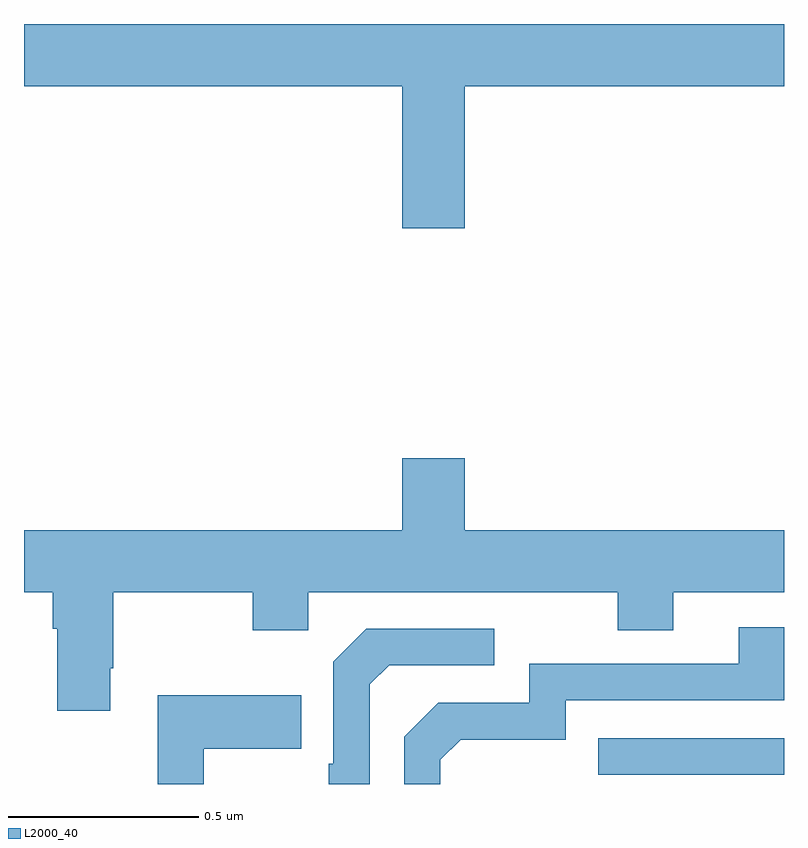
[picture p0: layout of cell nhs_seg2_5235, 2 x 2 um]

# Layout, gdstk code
import gdstk
lib = gdstk.Library(unit=1e-6, precision=1e-09)
def R(c, l, rs):  # rectangles x0, y0, x1, y1
    for r in rs: c.add(gdstk.rectangle(r[:2], r[2:], *l))
def P(c, l, *ps):  # polygons
    for p in ps: c.add(gdstk.Polygon(p, *l))
L2000_40 = (2000, 40)

nhs_seg2_5235 = lib.new_cell('nhs_seg2_5235')
R(nhs_seg2_5235, L2000_40, [(177.511,645.825,178,645.921)])
P(nhs_seg2_5235, L2000_40, [(177.16,647.636),(178,647.636),(178,647.8),(176,647.8),(176,647.636),(176.996,647.636),(176.996,647.262),(177.16,647.262)],
  [(176.227,646.105),(176.235,646.105),(176.235,646.304),(176.602,646.304),(176.602,646.205),(176.748,646.205),(176.748,646.304),(177.562,646.304),(177.562,646.205),(177.709,646.205),(177.709,646.304),(178,646.304),(178,646.468),(177.16,646.468),(177.16,646.657),(176.996,646.657),(176.996,646.468),(176,646.468),(176,646.304),(176.075,646.304),(176.075,646.208),(176.087,646.208),(176.087,645.993),(176.227,645.993)],
  [(177.096,645.864),(177.149,645.917),(177.426,645.917),(177.426,646.02),(178,646.02),(178,646.212),(177.881,646.212),(177.881,646.116),(177.33,646.116),(177.33,646.014),(177.09,646.014),(177,645.924),(177,645.8),(177.096,645.8)],
  [(176.91,646.062),(176.961,646.113),(177.238,646.113),(177.238,646.209),(176.901,646.209),(176.814,646.122),(176.814,645.853),(176.802,645.853),(176.802,645.8),(176.91,645.8)],
  [(176.473,645.893),(176.729,645.893),(176.729,646.033),(176.352,646.033),(176.352,645.8),(176.473,645.8)])

lib.write_gds('nhs_seg2_5235.gds')
